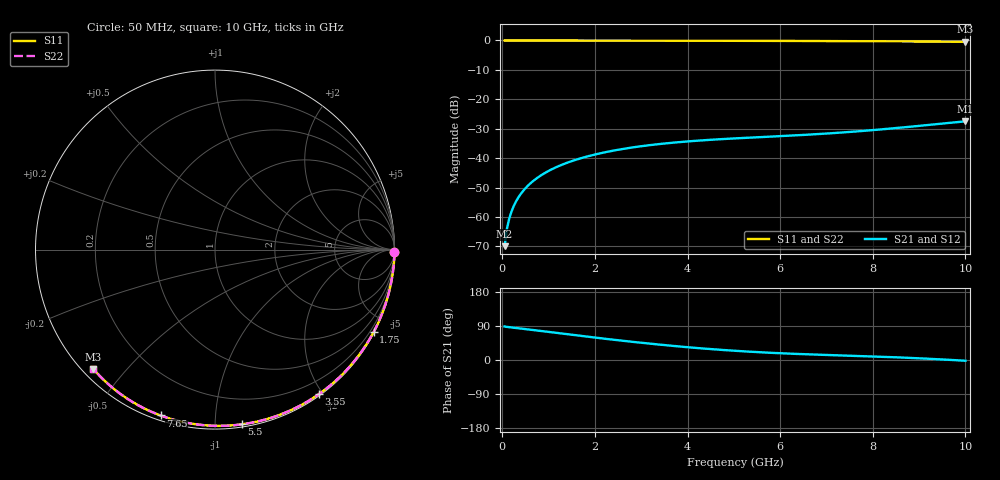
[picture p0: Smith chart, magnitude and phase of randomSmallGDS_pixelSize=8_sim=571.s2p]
! freq	dB(S11)	phase(S11)	dB(S12)	phase(S12)
!  dB(S21)	phase(S21)	dB(S22)	phase(S22)
!S-par simulation data
#  GHz  S  DB  R 50
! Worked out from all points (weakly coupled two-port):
!   200 points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, 50 MHz to 10 GHz, reference 50 ohm
!   highest |S21| = -27.48 dB at 10 GHz (marker M1); lowest = -69.9 dB at 50 MHz (marker M2)
!   lowest |S11| = -0.4 dB at 10 GHz (marker M3), VSWR 38.63, Z = 1.51 - j20.4 ohm
!   |S11| at or under -10 dB: nowhere
!   |S22| runs from -0.4 to 0.0 dB; largest |S21 - S12| = 0
!   S11 on the Smith chart (normalised r, x): 50 MHz: open; 1.75 GHz: 0.04, -4.09; 3.55 GHz: 0.02, -1.95; 5.5 GHz: 0.02, -1.17; 7.65 GHz: 0.02, -0.72; 10 GHz: 0.03, -0.41
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0.05  -0.00 -0.8  -69.91 88.4  -69.91 88.4  -0.00 -0.8
0.1  -0.00 -1.6  -63.98 87.3  -63.98 87.3  -0.00 -1.6
0.15  -0.00 -2.4  -60.53 86.5  -60.53 86.5  -0.00 -2.4
0.2  -0.00 -3.2  -58.07 85.8  -58.07 85.8  -0.00 -3.2
0.25  -0.00 -4.0  -56.17 85.1  -56.17 85.1  -0.00 -4.0
0.35  -0.00 -5.6  -53.28 83.8  -53.28 83.8  -0.00 -5.6
0.5  -0.01 -8.0  -50.22 81.6  -50.22 81.6  -0.01 -8.0
0.7  -0.01 -11.1  -47.35 78.6  -47.35 78.6  -0.01 -11.1
1  -0.02 -15.8  -44.33 74.0  -44.33 74.0  -0.02 -15.8
1.35  -0.03 -21.3  -41.85 68.7  -41.85 68.7  -0.03 -21.3
1.75  -0.03 -27.5  -39.78 62.8  -39.78 62.8  -0.03 -27.5
2.5  -0.05 -38.9  -37.14 52.1  -37.14 52.1  -0.05 -38.8
3.4  -0.07 -52.2  -35.18 40.5  -35.18 40.5  -0.07 -52.1
3.55  -0.07 -54.3  -34.94 38.8  -34.94 38.8  -0.07 -54.3
4.3  -0.09 -65.0  -33.96 30.7  -33.96 30.7  -0.09 -64.9
5.05  -0.12 -75.2  -33.26 24.1  -33.26 24.1  -0.11 -75.2
5.5  -0.13 -81.2  -32.90 20.8  -32.90 20.8  -0.13 -81.2
6.7  -0.18 -96.6  -31.93 14.5  -31.93 14.5  -0.18 -96.5
7.65  -0.24 -108.2  -30.91 10.8  -30.91 10.8  -0.24 -108.1
8.35  -0.29 -116.5  -29.99 7.9  -29.99 7.9  -0.29 -116.4
9.2  -0.37 -126.4  -28.72 3.3  -28.72 3.3  -0.37 -126.3
10  -0.45 -135.6  -27.48 -1.9  -27.48 -1.9  -0.45 -135.5
